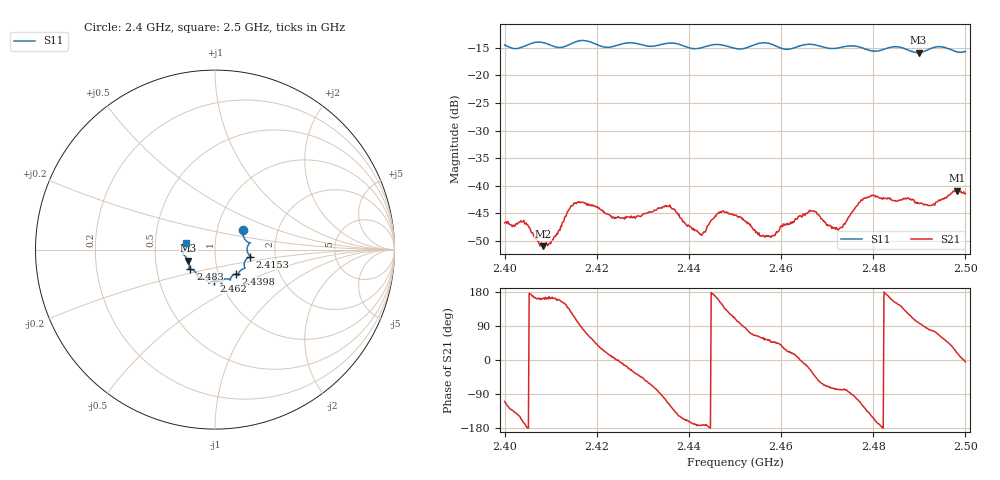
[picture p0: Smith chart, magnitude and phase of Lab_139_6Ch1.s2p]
# Hz S RI R 50
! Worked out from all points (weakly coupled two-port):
!   601 points, 2.4 GHz to 2.5 GHz, reference 50 ohm
!   highest |S21| = -40.88 dB at 2.4982 GHz (marker M1); lowest = -50.9 dB at 2.4083 GHz (marker M2)
!   lowest |S11| = -15.9 dB at 2.4898 GHz (marker M3), VSWR 1.38, Z = 36.8 - j4.62 ohm
!   |S11| at or under -10 dB: start of sweep to end of sweep
!   S12 and S22 are empty: the file has one direction only
!   S11 on the Smith chart (normalised r, x): 2.4 GHz: 1.33, +0.29; 2.4153 GHz: 1.48, -0.12; 2.4398 GHz: 1.21, -0.34; 2.462 GHz: 0.93, -0.33; 2.483 GHz: 0.74, -0.17; 2.5 GHz: 0.72, +0.06
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2.4e9  0.1551 0.1065  -0.00154 -0.00436  0 0  0 0
2.4045e9  0.1798 0.0436  -0.00446 -0.000751  0 0  0 0
2.408333e9  0.1946 0.0367  -0.00271 0.000852  0 0  0 0
2.415333e9  0.1965 -0.0387  -0.00246 0.00656  0 0  0 0
2.416667e9  0.2021 -0.0429  0.000365 0.00709  0 0  0 0
2.423833e9  0.1628 -0.0855  0.00504 0.000333  0 0  0 0
2.433333e9  0.131 -0.1337  0.000865 -0.00627  0 0  0 0
2.436333e9  0.1324 -0.1447  -0.00367 -0.00499  0 0  0 0
2.439833e9  0.1153 -0.1362  -0.00417 -0.00149  0 0  0 0
2.442833e9  0.0902 -0.1535  -0.00356 -0.000504  0 0  0 0
2.4465e9  0.085 -0.1701  -0.00532 0.00224  0 0  0 0
2.45e9  0.0649 -0.1628  -0.00178 0.00511  0 0  0 0
2.456e9  0.0382 -0.1931  0.00193 0.00299  0 0  0 0
2.462e9  -0.00516 -0.1732  0.00433 0.00167  0 0  0 0
2.466667e9  -0.0343 -0.1876  0.00507 -0.00305  0 0  0 0
2.472333e9  -0.0735 -0.1606  0.000837 -0.0039  0 0  0 0
2.477833e9  -0.0982 -0.146  -0.00418 -0.00645  0 0  0 0
2.483e9  -0.1375 -0.1095  -0.00752 0.00111  0 0  0 0
2.483333e9  -0.1401 -0.1094  -0.00758 0.00165  0 0  0 0
2.489833e9  -0.1484 -0.0611  -0.00101 0.00691  0 0  0 0
2.498167e9  -0.163 0.00799  0.00854 0.00293  0 0  0 0
2.5e9  -0.1601 0.0392  0.00846 -0.000773  0 0  0 0
